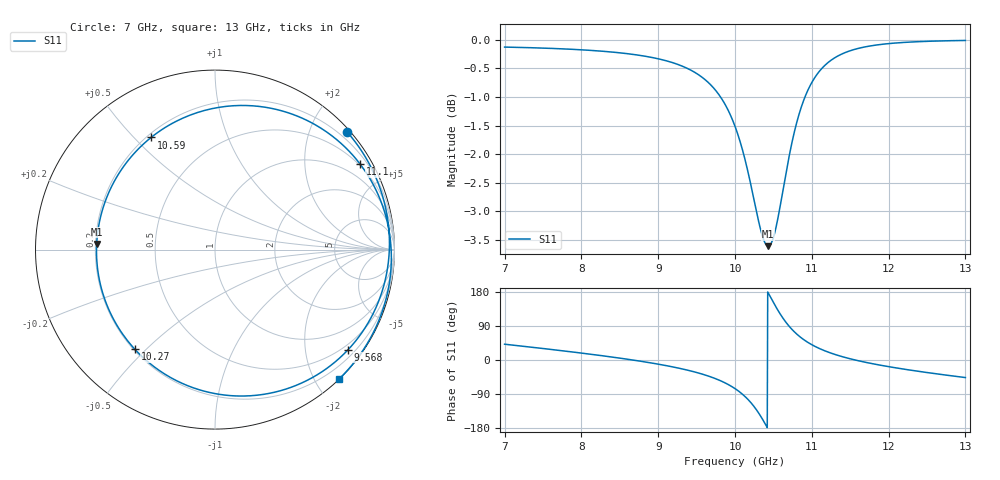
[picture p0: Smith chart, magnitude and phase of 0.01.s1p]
! TOUCHSTONE file generated by CST MICROWAVE STUDIO
! Date and time: Wed Sep 25 16:55:53 2024
! Project name: unit_cell_optimization_L=10.0_Wgap=1.0_Wline=1.42.cst
! Parameters = {A=1.03591; AB_sqInv=0.931309; B=0.025494; C0=2.097; Cj=2.0886; Cp=0.075; Ct=2.12774; ImZ=-7.48; L=10; L1=0.3; L_back=16.1559; Lp=0.35; Lpad=0.75; M=1.199; R=5.41; R_cav=0.5; R_sogl=4.36377; ReZ=5.03838; Rt=5.03838; V=0.01; Vj=2.984; W=10; W1=-0.15; W2=-0.15; Wcoop=3.29; Wgap=1; Wline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
! Header version: 2024
! Port assignment regex: !\s*Touchstone port\s*([0-9]+)\s*=\s*(CST MWS port|CST DES external port|CST DES block port)\s*(.+)\s* \(\"(.*)\"\)(\s*mode\s*([0-9]+))?.*
! Touchstone port assignment:
! Touchstone port 1 = CST MWS port Zmax ("") mode 1
! S-Parameters are not renormalized. Unphysical impedance of 50 will be written to the file.
# GHz S RI R 50
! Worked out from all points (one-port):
!   1001 points, 7 GHz to 13 GHz, reference per port
!   lowest |S11| = -3.6 dB at 10.43 GHz (marker M1), VSWR 4.88
!   |S11| at or under -10 dB: nowhere
!   S11 on the Smith chart (normalised r, x): 7 GHz: 0.06, +2.63; 9.568 GHz: 0.37, -2.96; 10.27 GHz: 0.20, -0.46; 10.59 GHz: 0.22, +0.56; 11.1 GHz: 0.45, +3.63; 13 GHz: 0.00, -2.34
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7  0.7365 0.6551
7.75  0.8943 0.4061
8.5  0.9707 0.0838
8.914  0.9561 -0.1333
9.25  0.8903 -0.3374
9.568  0.7421 -0.557
9.802  0.5262 -0.7219
9.904  0.3832 -0.7808
10  0.211 -0.8134
10.078  0.0411 -0.8088
10.15  -0.1373 -0.764
10.21  -0.2946 -0.6842
10.27  -0.4465 -0.5555
10.36  -0.6185 -0.2642
10.432  -0.6593 0.0319
10.51  -0.5744 0.3549
10.594  -0.3558 0.6249
10.666  -0.1176 0.757
10.75  0.1562 0.8031
10.834  0.3882 0.7684
10.912  0.5571 0.6963
11.002  0.7019 0.5921
11.098  0.8095 0.4751
11.278  0.9244 0.2688
11.5  0.977 0.0543
11.842  0.9688 -0.2027
12.25  0.8969 -0.4318
13  0.6895 -0.7228
